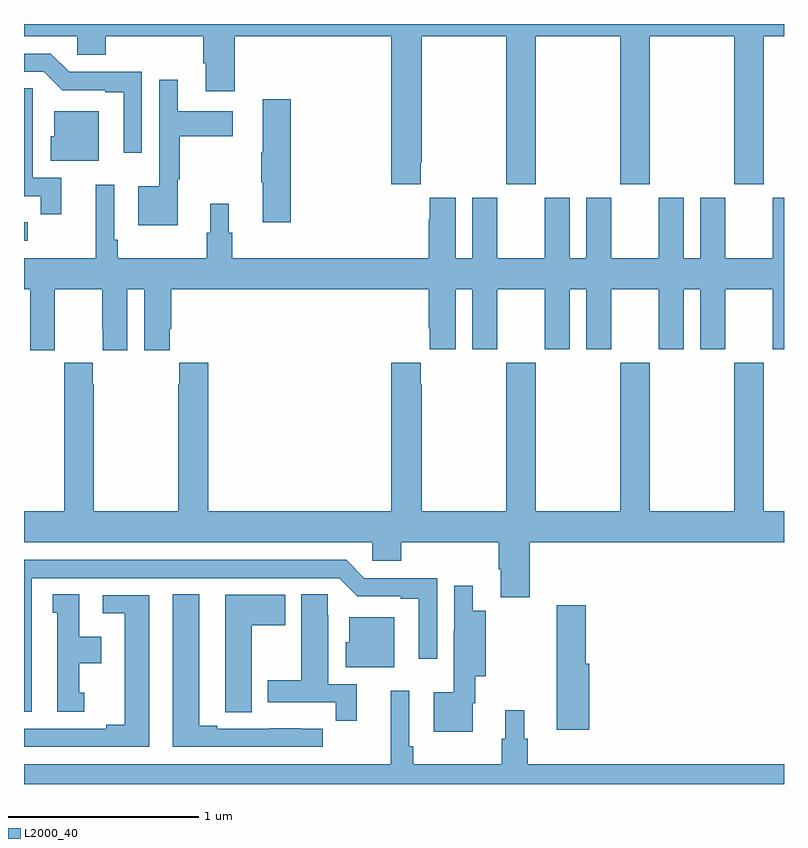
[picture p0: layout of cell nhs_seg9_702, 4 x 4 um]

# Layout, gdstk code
import gdstk
lib = gdstk.Library(unit=1e-6, precision=1e-09)
def R(c, l, rs):  # rectangles x0, y0, x1, y1
    for r in rs: c.add(gdstk.rectangle(r[:2], r[2:], *l))
def P(c, l, *ps):  # polygons
    for p in ps: c.add(gdstk.Polygon(p, *l))
L2000_40 = (2000, 40)

nhs_seg9_702 = lib.new_cell('nhs_seg9_702')
R(nhs_seg9_702, L2000_40, [(147,1179.36,147.019,1179.456)])
P(nhs_seg9_702, L2000_40, [(149.089,1179.769),(149.094,1179.769),(149.094,1180.436),(149.539,1180.436),(149.539,1179.657),(149.694,1179.657),(149.694,1180.436),(150.139,1180.436),(150.139,1179.657),(150.294,1179.657),(150.294,1180.436),(150.739,1180.436),(150.739,1179.657),(150.894,1179.657),(150.894,1180.436),(151,1180.436),(151,1180.5),(147,1180.5),(147,1180.436),(147.279,1180.436),(147.279,1180.338),(147.431,1180.338),(147.431,1180.436),(147.944,1180.436),(147.944,1180.294),(147.956,1180.294),(147.956,1180.146),(148.109,1180.146),(148.109,1180.436),(148.934,1180.436),(148.934,1179.657),(149.089,1179.657)],
  [(147.621,1180.248),(147.237,1180.248),(147.141,1180.344),(147,1180.344),(147,1180.248),(147.105,1180.248),(147.201,1180.152),(147.428,1180.152),(147.428,1180.14),(147.524,1180.14),(147.524,1179.822),(147.621,1179.822)],
  [(147.808,1179.684),(147.82,1179.684),(147.82,1179.908),(148.099,1179.908),(148.099,1180.042),(147.808,1180.042),(147.808,1180.207),(147.711,1180.207),(147.711,1179.646),(147.602,1179.646),(147.602,1179.44),(147.808,1179.44)],
  [(147.197,1179.69),(147.046,1179.69),(147.046,1180.052),(147.045,1180.052),(147.045,1180.163),(147,1180.163),(147,1179.594),(147.088,1179.594),(147.088,1179.498),(147.197,1179.498)],
  [(148.403,1180.105),(148.256,1180.105),(148.256,1179.824),(148.249,1179.824),(148.249,1179.668),(148.256,1179.668),(148.256,1179.456),(148.403,1179.456)],
  [(147.394,1180.042),(147.158,1180.042),(147.158,1179.909),(147.14,1179.909),(147.14,1179.779),(147.394,1179.779)],
  [(147.162,1178.896),(147.163,1178.896),(147.163,1179.104),(147.413,1179.104),(147.413,1178.896),(147.414,1178.896),(147.414,1178.784),(147.544,1178.784),(147.544,1179.104),(147.632,1179.104),(147.632,1178.784),(147.766,1178.784),(147.766,1178.896),(147.776,1178.896),(147.776,1179.104),(149.129,1179.104),(149.129,1178.899),(149.135,1178.899),(149.135,1178.787),(149.272,1178.787),(149.272,1179.104),(149.36,1179.104),(149.36,1178.787),(149.491,1178.787),(149.491,1179.104),(149.741,1179.104),(149.741,1178.787),(149.872,1178.787),(149.872,1179.104),(149.96,1179.104),(149.96,1178.787),(150.091,1178.787),(150.091,1179.104),(150.341,1179.104),(150.341,1178.787),(150.472,1178.787),(150.472,1179.104),(150.56,1179.104),(150.56,1178.787),(150.691,1178.787),(150.691,1179.104),(150.941,1179.104),(150.941,1178.787),(151,1178.787),(151,1179.586),(150.941,1179.586),(150.941,1179.268),(150.691,1179.268),(150.691,1179.586),(150.56,1179.586),(150.56,1179.268),(150.472,1179.268),(150.472,1179.586),(150.341,1179.586),(150.341,1179.268),(150.091,1179.268),(150.091,1179.586),(149.96,1179.586),(149.96,1179.268),(149.872,1179.268),(149.872,1179.586),(149.741,1179.586),(149.741,1179.268),(149.491,1179.268),(149.491,1179.586),(149.36,1179.586),(149.36,1179.268),(149.272,1179.268),(149.272,1179.586),(149.135,1179.586),(149.135,1179.473),(149.129,1179.473),(149.129,1179.268),(148.097,1179.268),(148.097,1179.402),(148.078,1179.402),(148.078,1179.553),(147.98,1179.553),(147.98,1179.402),(147.961,1179.402),(147.961,1179.268),(147.494,1179.268),(147.494,1179.364),(147.474,1179.364),(147.474,1179.655),(147.377,1179.655),(147.377,1179.268),(147,1179.268),(147,1179.104),(147.032,1179.104),(147.032,1178.784),(147.162,1178.784)],
  [(149.663,1177.772),(151,1177.772),(151,1177.936),(150.894,1177.936),(150.894,1178.716),(150.739,1178.716),(150.739,1177.936),(150.294,1177.936),(150.294,1178.716),(150.139,1178.716),(150.139,1177.936),(149.694,1177.936),(149.694,1178.716),(149.539,1178.716),(149.539,1177.936),(149.094,1177.936),(149.094,1178.603),(149.089,1178.603),(149.089,1178.716),(148.934,1178.716),(148.934,1177.936),(147.971,1177.936),(147.971,1178.716),(147.817,1178.716),(147.817,1178.603),(147.811,1178.603),(147.811,1177.936),(147.366,1177.936),(147.366,1178.603),(147.363,1178.603),(147.363,1178.716),(147.213,1178.716),(147.213,1178.603),(147.211,1178.603),(147.211,1177.936),(147,1177.936),(147,1177.772),(148.833,1177.772),(148.833,1177.674),(148.985,1177.674),(148.985,1177.772),(149.498,1177.772),(149.498,1177.63),(149.51,1177.63),(149.51,1177.482),(149.663,1177.482)],
  [(147.04,1177.584),(148.659,1177.584),(148.755,1177.488),(148.982,1177.488),(148.982,1177.476),(149.078,1177.476),(149.078,1177.158),(149.175,1177.158),(149.175,1177.584),(148.791,1177.584),(148.695,1177.68),(147,1177.68),(147,1176.879),(147.04,1176.879)],
  [(149.361,1176.926),(149.374,1176.926),(149.374,1177.067),(149.43,1177.067),(149.43,1177.411),(149.362,1177.411),(149.362,1177.543),(149.264,1177.543),(149.264,1177.307),(149.263,1177.307),(149.263,1176.982),(149.156,1176.982),(149.156,1176.776),(149.361,1176.776)],
  [(147.316,1176.981),(147.292,1176.981),(147.292,1177.136),(147.406,1177.136),(147.406,1177.276),(147.292,1177.276),(147.292,1177.499),(147.152,1177.499),(147.152,1177.401),(147.176,1177.401),(147.176,1176.879),(147.316,1176.879)],
  [(148.751,1177.026),(148.6,1177.026),(148.6,1177.388),(148.599,1177.388),(148.599,1177.499),(148.46,1177.499),(148.46,1177.047),(148.283,1177.047),(148.283,1176.93),(148.642,1176.93),(148.642,1176.834),(148.751,1176.834)],
  [(148.573,1176.792),(148.46,1176.792),(148.46,1176.793),(148.294,1176.793),(148.294,1176.792),(148.018,1176.792),(148.018,1176.807),(147.922,1176.807),(147.922,1177.499),(147.782,1177.499),(147.782,1176.696),(148.573,1176.696)],
  [(148.198,1177.336),(148.375,1177.336),(148.375,1177.495),(148.058,1177.495),(148.058,1176.985),(148.059,1176.985),(148.059,1176.877),(148.198,1176.877)],
  [(147.658,1177.494),(147.414,1177.494),(147.414,1177.398),(147.53,1177.398),(147.53,1176.812),(147.434,1176.812),(147.434,1176.792),(147,1176.792),(147,1176.696),(147.658,1176.696)],
  [(149.975,1177.134),(149.957,1177.134),(149.957,1177.441),(149.803,1177.441),(149.803,1177.134),(149.804,1177.134),(149.804,1176.786),(149.975,1176.786)],
  [(148.948,1177.378),(148.712,1177.378),(148.712,1177.245),(148.694,1177.245),(148.694,1177.115),(148.948,1177.115)],
  [(151,1176.604),(149.651,1176.604),(149.651,1176.738),(149.632,1176.738),(149.632,1176.889),(149.534,1176.889),(149.534,1176.738),(149.515,1176.738),(149.515,1176.604),(149.048,1176.604),(149.048,1176.7),(149.028,1176.7),(149.028,1176.991),(148.931,1176.991),(148.931,1176.604),(147,1176.604),(147,1176.5),(151,1176.5)])

lib.write_gds('nhs_seg9_702.gds')
